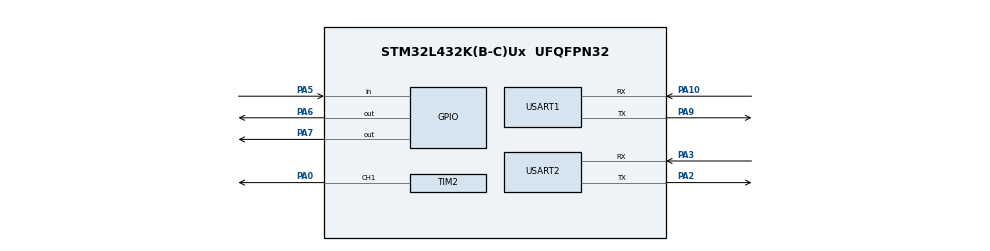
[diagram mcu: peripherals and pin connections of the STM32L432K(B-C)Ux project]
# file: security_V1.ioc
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Mcu.Family=STM32L4
RCC.MSI_VALUE=4000000
PA14\ (JTCK-SWCLK).Mode=Serial_Wire
SH.S_TIM2_CH1.0=TIM2_CH1,PWM Generation1 CH1
PA10.Mode=Asynchronous
PC15-OSC32_OUT\ (PC15).Signal=RCC_OSC32_OUT
PC15-OSC32_OUT\ (PC15).Mode=LSE-External-Oscillator
NVIC.USART2_IRQn=true\:0\:0\:false\:false\:true\:true\:true
ProjectManager.StackSize=0x400
PC14-OSC32_IN\ (PC14).Mode=LSE-External-Oscillator
PA14\ (JTCK-SWCLK).Signal=SYS_JTCK-SWCLK
USART1.VirtualMode-Asynchronous=VM_ASYNC
PA3.Mode=Asynchronous
PA9.Mode=Asynchronous
ProjectManager.TargetToolchain=MDK-ARM V5
PA9.Signal=USART1_TX
PA5.Signal=GPIO_Input
RCC.HSE_VALUE=8000000
board=custom
USART2.VirtualMode-Asynchronous=VM_ASYNC
RCC.VCOOutputFreq_Value=32000000
VP_TIM2_VS_ClockSourceINT.Mode=Internal
TIM2.Channel-PWM\ Generation1\ CH1=TIM_CHANNEL_1
TIM2.Period=99
Mcu.Name=STM32L432K(B-C)Ux
PA2.Signal=USART2_TX
PA0.Signal=S_TIM2_CH1
PA13\ (JTMS-SWDIO).Mode=Serial_Wire
Mcu.Package=UFQFPN32
TIM2.Prescaler=3
PA6.Signal=GPIO_Output
PC14-OSC32_IN\ (PC14).Signal=RCC_OSC32_IN
PA10.Signal=USART1_RX
ProjectManager.HeapSize=0x200
RCC.HSI_VALUE=16000000
NVIC.PriorityGroup=NVIC_PRIORITYGROUP_4
PA2.Mode=Asynchronous
PA13\ (JTMS-SWDIO).Signal=SYS_JTMS-SWDIO
NVIC.USART1_IRQn=true\:0\:0\:false\:false\:true\:true\:true
RCC.HSI48_VALUE=48000000
PA3.Signal=USART2_RX
PA7.Signal=GPIO_Output

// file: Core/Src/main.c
/* USER CODE BEGIN Header */
/**
  ******************************************************************************
  * @file           : main.c
  * @brief          : Main program body
  ******************************************************************************
  * @attention
  *
  * <h2><center>&copy; Copyright (c) 2021 STMicroelectronics.
  * All rights reserved.</center></h2>
  *
  * This software component is licensed by ST under BSD 3-Clause license,
  * the "License"; You may not use this file except in compliance with the
  * License. You may obtain a copy of the License at:
  *                        opensource.org/licenses/BSD-3-Clause
  *
  ******************************************************************************
  */
/* USER CODE END Header */
#include "main.h"

/* USER CODE BEGIN Includes */
#include <stdbool.h>
/* USER CODE END Includes */

TIM_HandleTypeDef htim2;

UART_HandleTypeDef huart1;
UART_HandleTypeDef huart2;

/* USER CODE BEGIN PV */
 bool buzzer_ON = true;
 bool lights_ON = true;
/* USER CODE END PV */

void SystemClock_Config(void);
static void MX_GPIO_Init(void);
static void MX_USART1_UART_Init(void);
static void MX_USART2_UART_Init(void);
static void MX_TIM2_Init(void);

/* USER CODE BEGIN 0 */
void Buzz ()
{
		HAL_GPIO_WritePin(GPIOA ,GPIO_PIN_6 , GPIO_PIN_SET ) ;

	for( int i = 15 ; i < 75 ; i = i + 3 ) {
		__HAL_TIM_SET_PRESCALER(&htim2,i*2);
		HAL_Delay(80);
	}

	//HAL_Delay(1000);
	//HAL_GPIO_WritePin(GPIOA ,GPIO_PIN_7 , GPIO_PIN_RESET ) ;
}

void Light ()
{
		HAL_GPIO_WritePin(GPIOA ,GPIO_PIN_7 , GPIO_PIN_SET ) ;
	//HAL_Delay(1000);
	//HAL_GPIO_WritePin(GPIOA ,GPIO_PIN_6 , GPIO_PIN_RESET ) ;
}

/* USER CODE END 0 */

int main(void)
{

  /* MCU Configuration--------------------------------------------------------*/

  /* Reset of all peripherals, Initializes the Flash interface and the Systick. */
  HAL_Init();

  /* Configure the system clock */
  SystemClock_Config();

  /* Initialize all configured peripherals */
  MX_GPIO_Init();
  MX_USART1_UART_Init();
  MX_USART2_UART_Init();
  MX_TIM2_Init();
  /* USER CODE BEGIN 2 */
		HAL_TIM_PWM_Start(&htim2 , TIM_CHANNEL_1);
	__HAL_TIM_SET_COMPARE(&htim2,TIM_CHANNEL_1,50);
	//__HAL_TIM_SetAutoreload(&htim2, 99);
__HAL_UART_ENABLE_IT(&huart2, UART_IT_RXNE);
int capture = 0 ;
int count = 1000;
  /* USER CODE END 2 */

  /* Infinite loop */
  /* USER CODE BEGIN WHILE */
  while (1)
  {

		int motion = HAL_GPIO_ReadPin(GPIOA , GPIO_PIN_5);

if(motion) {

HAL_UART_Transmit(&huart2 , (uint8_t *) "motion detected\r\n" , sizeof ("motion detected\r\n") , HAL_MAX_DELAY ) ;

	if(lights_ON)
		Light();
	else
		HAL_GPIO_WritePin(GPIOA ,GPIO_PIN_7 , GPIO_PIN_RESET ) ;
		if (buzzer_ON) {
			__HAL_TIM_SET_COMPARE(&htim2,TIM_CHANNEL_1,50);
		Buzz();
	}
	else
		//HAL_GPIO_WritePin(GPIOA ,GPIO_PIN_6 , GPIO_PIN_RESET ) ;
		__HAL_TIM_SET_COMPARE(&htim2,TIM_CHANNEL_1,0);
	count--;
	if(buzzer_ON)
		capture = 1 ;
	else
	if(count <= 0 )
			capture = 1 ;
if (capture) {
		HAL_UART_Transmit(&huart1, (uint8_t *) "c" , sizeof ("c") , HAL_MAX_DELAY ) ;
	count = 1000;
	capture = 0 ;

}

}
else
{
	HAL_GPIO_WritePin(GPIOA ,GPIO_PIN_7 , GPIO_PIN_RESET ) ;
	HAL_GPIO_WritePin(GPIOA ,GPIO_PIN_6 , GPIO_PIN_RESET ) ;
	__HAL_TIM_SET_COMPARE(&htim2,TIM_CHANNEL_1,0);
HAL_UART_Transmit(&huart2 , (uint8_t *) "No motion\r\n" , sizeof ("No motion\r\n") , HAL_MAX_DELAY ) ;
	HAL_UART_Transmit(&huart1 , (uint8_t *) "n" , sizeof ("n") , HAL_MAX_DELAY ) ;
}

    /* USER CODE END WHILE */

  }
}

void SystemClock_Config(void)
{
  RCC_OscInitTypeDef RCC_OscInitStruct = {0};
  RCC_ClkInitTypeDef RCC_ClkInitStruct = {0};
  RCC_PeriphCLKInitTypeDef PeriphClkInit = {0};

  /** Configure LSE Drive Capability
  */
  HAL_PWR_EnableBkUpAccess();
  __HAL_RCC_LSEDRIVE_CONFIG(RCC_LSEDRIVE_LOW);
  /** Initializes the RCC Oscillators according to the specified parameters
  * in the RCC_OscInitTypeDef structure.
  */
  RCC_OscInitStruct.OscillatorType = RCC_OSCILLATORTYPE_LSE|RCC_OSCILLATORTYPE_MSI;
  RCC_OscInitStruct.LSEState = RCC_LSE_ON;
  RCC_OscInitStruct.MSIState = RCC_MSI_ON;
  RCC_OscInitStruct.MSICalibrationValue = 0;
  RCC_OscInitStruct.MSIClockRange = RCC_MSIRANGE_6;
  RCC_OscInitStruct.PLL.PLLState = RCC_PLL_NONE;
  if (HAL_RCC_OscConfig(&RCC_OscInitStruct) != HAL_OK)
  {
    Error_Handler();
  }
  /** Initializes the CPU, AHB and APB buses clocks
  */
  RCC_ClkInitStruct.ClockType = RCC_CLOCKTYPE_HCLK|RCC_CLOCKTYPE_SYSCLK
                              |RCC_CLOCKTYPE_PCLK1|RCC_CLOCKTYPE_PCLK2;
  RCC_ClkInitStruct.SYSCLKSource = RCC_SYSCLKSOURCE_MSI;
  RCC_ClkInitStruct.AHBCLKDivider = RCC_SYSCLK_DIV1;
  RCC_ClkInitStruct.APB1CLKDivider = RCC_HCLK_DIV1;
  RCC_ClkInitStruct.APB2CLKDivider = RCC_HCLK_DIV1;

  if (HAL_RCC_ClockConfig(&RCC_ClkInitStruct, FLASH_LATENCY_0) != HAL_OK)
  {
    Error_Handler();
  }
  PeriphClkInit.PeriphClockSelection = RCC_PERIPHCLK_USART1|RCC_PERIPHCLK_USART2;
  PeriphClkInit.Usart1ClockSelection = RCC_USART1CLKSOURCE_PCLK2;
  PeriphClkInit.Usart2ClockSelection = RCC_USART2CLKSOURCE_PCLK1;
  if (HAL_RCCEx_PeriphCLKConfig(&PeriphClkInit) != HAL_OK)
  {
    Error_Handler();
  }
  /** Configure the main internal regulator output voltage
  */
  if (HAL_PWREx_ControlVoltageScaling(PWR_REGULATOR_VOLTAGE_SCALE1) != HAL_OK)
  {
    Error_Handler();
  }
  /** Enable MSI Auto calibration
  */
  HAL_RCCEx_EnableMSIPLLMode();
}

static void MX_TIM2_Init(void)
{

  TIM_ClockConfigTypeDef sClockSourceConfig = {0};
  TIM_MasterConfigTypeDef sMasterConfig = {0};
  TIM_OC_InitTypeDef sConfigOC = {0};

  htim2.Instance = TIM2;
  htim2.Init.Prescaler = 3;
  htim2.Init.CounterMode = TIM_COUNTERMODE_UP;
  htim2.Init.Period = 99;
  htim2.Init.ClockDivision = TIM_CLOCKDIVISION_DIV1;
  htim2.Init.AutoReloadPreload = TIM_AUTORELOAD_PRELOAD_DISABLE;
  if (HAL_TIM_Base_Init(&htim2) != HAL_OK)
  {
    Error_Handler();
  }
  sClockSourceConfig.ClockSource = TIM_CLOCKSOURCE_INTERNAL;
  if (HAL_TIM_ConfigClockSource(&htim2, &sClockSourceConfig) != HAL_OK)
  {
    Error_Handler();
  }
  if (HAL_TIM_PWM_Init(&htim2) != HAL_OK)
  {
    Error_Handler();
  }
  sMasterConfig.MasterOutputTrigger = TIM_TRGO_RESET;
  sMasterConfig.MasterSlaveMode = TIM_MASTERSLAVEMODE_DISABLE;
  if (HAL_TIMEx_MasterConfigSynchronization(&htim2, &sMasterConfig) != HAL_OK)
  {
    Error_Handler();
  }
  sConfigOC.OCMode = TIM_OCMODE_PWM1;
  sConfigOC.Pulse = 0;
  sConfigOC.OCPolarity = TIM_OCPOLARITY_HIGH;
  sConfigOC.OCFastMode = TIM_OCFAST_DISABLE;
  if (HAL_TIM_PWM_ConfigChannel(&htim2, &sConfigOC, TIM_CHANNEL_1) != HAL_OK)
  {
    Error_Handler();
  }
  HAL_TIM_MspPostInit(&htim2);

}

static void MX_USART1_UART_Init(void)
{

  huart1.Instance = USART1;
  huart1.Init.BaudRate = 115200;
  huart1.Init.WordLength = UART_WORDLENGTH_8B;
  huart1.Init.StopBits = UART_STOPBITS_1;
  huart1.Init.Parity = UART_PARITY_NONE;
  huart1.Init.Mode = UART_MODE_TX_RX;
  huart1.Init.HwFlowCtl = UART_HWCONTROL_NONE;
  huart1.Init.OverSampling = UART_OVERSAMPLING_16;
  huart1.Init.OneBitSampling = UART_ONE_BIT_SAMPLE_DISABLE;
  huart1.AdvancedInit.AdvFeatureInit = UART_ADVFEATURE_NO_INIT;
  if (HAL_UART_Init(&huart1) != HAL_OK)
  {
    Error_Handler();
  }

}

static void MX_USART2_UART_Init(void)
{

  huart2.Instance = USART2;
  huart2.Init.BaudRate = 115200;
  huart2.Init.WordLength = UART_WORDLENGTH_8B;
  huart2.Init.StopBits = UART_STOPBITS_1;
  huart2.Init.Parity = UART_PARITY_NONE;
  huart2.Init.Mode = UART_MODE_TX_RX;
  huart2.Init.HwFlowCtl = UART_HWCONTROL_NONE;
  huart2.Init.OverSampling = UART_OVERSAMPLING_16;
  huart2.Init.OneBitSampling = UART_ONE_BIT_SAMPLE_DISABLE;
  huart2.AdvancedInit.AdvFeatureInit = UART_ADVFEATURE_NO_INIT;
  if (HAL_UART_Init(&huart2) != HAL_OK)
  {
    Error_Handler();
  }

}

static void MX_GPIO_Init(void)
{
  GPIO_InitTypeDef GPIO_InitStruct = {0};

  /* GPIO Ports Clock Enable */
  __HAL_RCC_GPIOC_CLK_ENABLE();
  __HAL_RCC_GPIOA_CLK_ENABLE();

  /*Configure GPIO pin Output Level */
  HAL_GPIO_WritePin(GPIOA, GPIO_PIN_6|GPIO_PIN_7, GPIO_PIN_RESET);

  /*Configure GPIO pin : PA5 */
  GPIO_InitStruct.Pin = GPIO_PIN_5;
  GPIO_InitStruct.Mode = GPIO_MODE_INPUT;
  GPIO_InitStruct.Pull = GPIO_NOPULL;
  HAL_GPIO_Init(GPIOA, &GPIO_InitStruct);

  /*Configure GPIO pins : PA6 PA7 */
  GPIO_InitStruct.Pin = GPIO_PIN_6|GPIO_PIN_7;
  GPIO_InitStruct.Mode = GPIO_MODE_OUTPUT_PP;
  GPIO_InitStruct.Pull = GPIO_NOPULL;
  GPIO_InitStruct.Speed = GPIO_SPEED_FREQ_LOW;
  HAL_GPIO_Init(GPIOA, &GPIO_InitStruct);

}

void Error_Handler(void)
{
  __disable_irq();
  while (1)
  {
  }
}

/************************ (C) COPYRIGHT STMicroelectronics *****END OF FILE****/
